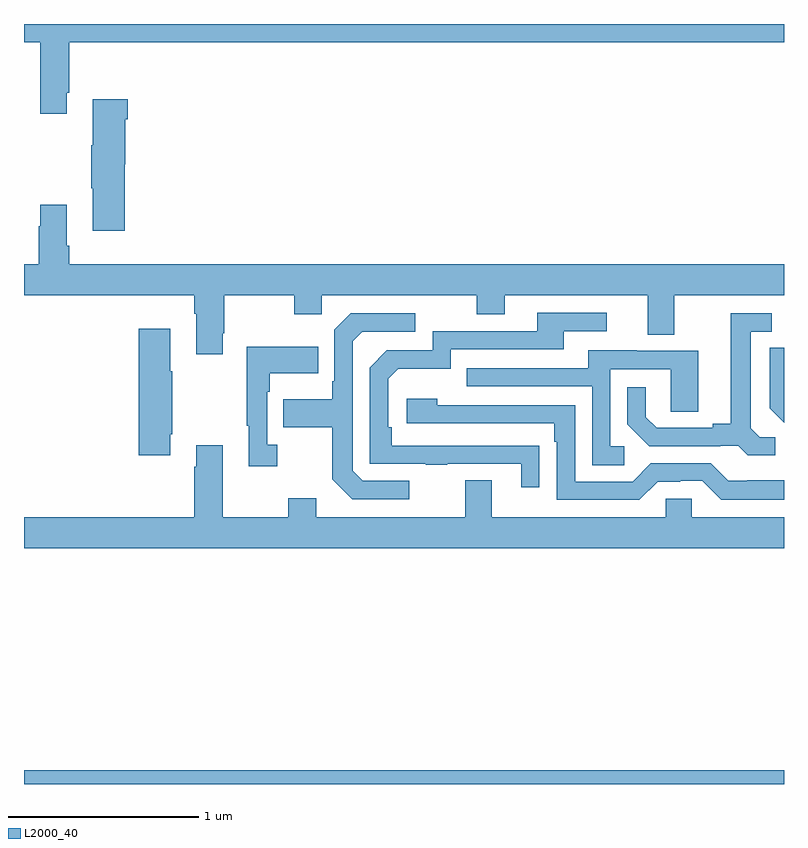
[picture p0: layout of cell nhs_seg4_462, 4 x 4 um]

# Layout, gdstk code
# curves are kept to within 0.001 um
import gdstk
lib = gdstk.Library(unit=1e-6, precision=1e-09)
def R(c, l, rs):  # rectangles x0, y0, x1, y1
    for r in rs: c.add(gdstk.rectangle(r[:2], r[2:], *l))
def P(c, l, *ps):  # polygons
    for p in ps: c.add(gdstk.Polygon(p, *l))
L2000_40 = (2000, 40)

nhs_seg4_462 = lib.new_cell('nhs_seg4_462')
R(nhs_seg4_462, L2000_40, [(133,808.9,137,808.972)])
P(nhs_seg4_462, L2000_40, [(133.225,812.539),(133.238,812.539),(133.238,812.804),(137,812.804),(137,812.9),(133,812.9),(133,812.804),(133.085,812.804),(133.085,812.427),(133.225,812.427)],
  [(133.529,812.163),(133.534,812.163),(133.534,812.399),(133.547,812.399),(133.547,812.503),(133.361,812.503),(133.361,812.263),(133.354,812.263),(133.354,812.035),(133.361,812.035),(133.361,811.812),(133.529,811.812)],
  [(134.047,811.273),(134.055,811.273),(134.055,811.472),(134.422,811.472),(134.422,811.373),(134.568,811.373),(134.568,811.472),(135.382,811.472),(135.382,811.373),(135.529,811.373),(135.529,811.472),(136.283,811.472),(136.283,811.264),(136.423,811.264),(136.423,811.472),(137,811.472),(137,811.636),(133.238,811.636),(133.238,811.732),(133.225,811.732),(133.225,811.948),(133.085,811.948),(133.085,811.835),(133.078,811.835),(133.078,811.636),(133,811.636),(133,811.472),(133.895,811.472),(133.895,811.376),(133.907,811.376),(133.907,811.161),(134.047,811.161)],
  [(135.713,810.68),(134.936,810.681),(134.936,810.778),(134.916,810.778),(134.916,811.032),(134.969,811.085),(135.246,811.085),(135.246,811.188),(135.841,811.188),(135.841,811.284),(136.066,811.284),(136.066,811.38),(135.701,811.38),(135.701,811.284),(135.15,811.284),(135.15,811.182),(134.91,811.182),(134.82,811.092),(134.82,810.585),(135.115,810.585),(135.115,810.58),(135.227,810.58),(135.227,810.585),(135.617,810.585),(135.617,810.462),(135.713,810.462)],
  [(136.954,810.726),(136.872,810.726),(136.825,810.773),(136.825,811.281),(136.936,811.281),(136.936,811.377),(136.721,811.377),(136.721,810.797),(136.625,810.797),(136.625,810.774),(136.33,810.774),(136.273,810.831),(136.273,810.988),(136.176,810.988),(136.176,810.794),(136.292,810.678),(136.664,810.678),(136.664,810.681),(136.758,810.681),(136.81,810.629),(136.954,810.629)],
  [(135.028,810.495),(134.784,810.495),(134.73,810.549),(134.73,811.23),(134.781,811.281),(135.058,811.281),(135.058,811.377),(134.721,811.377),(134.634,811.29),(134.634,811.021),(134.622,811.021),(134.622,810.925),(134.365,810.925),(134.365,810.778),(134.622,810.778),(134.622,810.505),(134.727,810.399),(135.028,810.399)],
  [(133.771,810.742),(133.779,810.742),(133.779,811.073),(133.771,811.073),(133.771,811.297),(133.604,811.297),(133.604,810.63),(133.771,810.63)],
  [(134.332,810.686),(134.28,810.686),(134.28,810.965),(134.293,810.965),(134.293,811.061),(134.549,811.061),(134.549,811.201),(134.172,811.201),(134.172,810.785),(134.183,810.785),(134.183,810.573),(134.332,810.573)],
  [(137,811.196),(136.926,811.196),(136.926,810.878),(136.999,810.805),(136.998,810.804),(137,810.802)],
  [(136.159,810.678),(136.086,810.678),(136.086,811.083),(136.404,811.083),(136.404,810.859),(136.549,810.859),(136.549,811.179),(136.225,811.179),(136.225,811.183),(135.971,811.183),(135.971,811.089),(135.331,811.089),(135.331,810.993),(135.99,810.993),(135.99,810.577),(136.159,810.577)],
  [(137,810.499),(136.807,810.499),(136.807,810.495),(136.707,810.495),(136.614,810.588),(136.299,810.588),(136.203,810.492),(135.9,810.492),(135.9,810.894),(135.176,810.894),(135.176,810.928),(135.015,810.928),(135.015,810.798),(135.791,810.798),(135.791,810.701),(135.804,810.701),(135.804,810.396),(136.239,810.396),(136.335,810.492),(136.454,810.492),(136.454,810.495),(136.569,810.495),(136.669,810.395),(137,810.395)],
  [(137,810.304),(136.515,810.304),(136.515,810.402),(136.377,810.402),(136.377,810.304),(135.463,810.304),(135.463,810.499),(135.323,810.499),(135.323,810.304),(134.539,810.304),(134.539,810.403),(134.392,810.403),(134.392,810.304),(134.047,810.304),(134.047,810.682),(133.907,810.682),(133.907,810.569),(133.895,810.569),(133.895,810.304),(133,810.304),(133,810.14),(137,810.14)])

lib.write_gds('nhs_seg4_462.gds')
